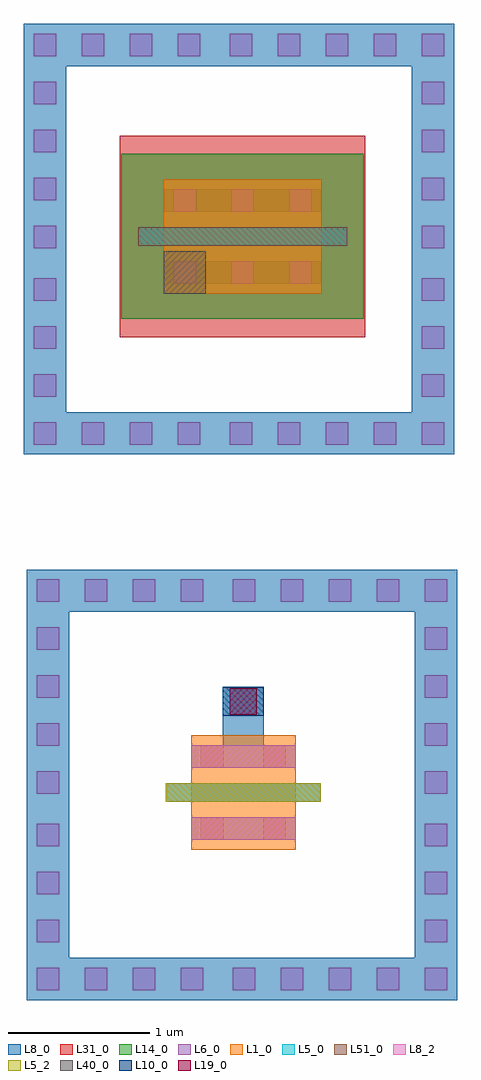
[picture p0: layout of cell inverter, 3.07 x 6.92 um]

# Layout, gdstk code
from math import pi, radians
import gdstk
lib = gdstk.Library(unit=1e-6, precision=5e-09)
def R(c, l, rs):  # rectangles x0, y0, x1, y1
    for r in rs: c.add(gdstk.rectangle(r[:2], r[2:], *l))
def A(c, l, x, y, w, h, nx, ny, dx, dy):  # array of equal rectangles
    R(c, l, [(x+i*dx, y+j*dy, x+i*dx+w, y+j*dy+h) for i in range(nx) for j in range(ny)])
L1_0 = (1, 0)
L5_0 = (5, 0)
L5_2 = (5, 2)
L6_0 = (6, 0)
L8_0 = (8, 0)
L8_2 = (8, 2)
L10_0 = (10, 0)
L14_0 = (14, 0)
L19_0 = (19, 0)
L31_0 = (31, 0)
L40_0 = (40, 0)
L51_0 = (51, 0)

nmos_1 = lib.new_cell('nmos$1')
R(nmos_1, L1_0, [(0,0,0.3,0.3), (0,0,0.81,0.74), (0.51,0,0.81,0.3)])
R(nmos_1, L5_0, [(0.34,-0.18,0.47,0.92)])
R(nmos_1, L5_2, [(0.34,-0.18,0.47,0.92)])
R(nmos_1, L6_0, [(0.07,0.07,0.23,0.23), (0.58,0.07,0.74,0.23), (0.07,0.51,0.23,0.67), (0.58,0.51,0.74,0.67)])
R(nmos_1, L8_0, [(0.07,0,0.23,0.74), (0.58,0,0.74,0.74)])
R(nmos_1, L8_2, [(0.07,0,0.23,0.74), (0.58,0,0.74,0.74)])
R(nmos_1, L51_0, [(0.34,-0.18,0.47,0.92)])
nmos_1.add(gdstk.Label('nmos', (0.405,0.37), layer=63, texttype=0))
nmos_1.add(gdstk.Label('nmos', (0.405,0.37), layer=51, texttype=0))

pmos_1 = lib.new_cell('pmos$1')
R(pmos_1, L1_0, [(0,0,0.3,0.3), (0,0,0.81,1.12), (0.51,0,0.81,0.3)])
R(pmos_1, L5_0, [(0.34,-0.18,0.47,1.3), (0.34,-0.18,0.47,1.3)])
A(pmos_1, L6_0, 0.07, 0.07, 0.16, 0.16, 1, 3, 0, 0.41)
A(pmos_1, L6_0, 0.58, 0.07, 0.16, 0.16, 1, 3, 0, 0.41)
R(pmos_1, L8_0, [(0.07,0,0.23,1.12), (0.07,0,0.23,1.12), (0.58,0,0.74,1.12), (0.58,0,0.74,1.12)])
R(pmos_1, L14_0, [(-0.18,-0.3,0.99,1.42)])
R(pmos_1, L31_0, [(-0.31,-0.31,1.12,1.43)])
R(pmos_1, L40_0, [(0.51,0,0.81,0.3)])
R(pmos_1, L51_0, [(0.34,-0.18,0.47,1.3)])
pmos_1.add(gdstk.Label('pmos', (0.405,0.56), layer=63, texttype=0))
pmos_1.add(gdstk.Label('pmos', (0.405,0.56), layer=51, texttype=0))

via_stack_1 = lib.new_cell('via_stack$1')
R(via_stack_1, L8_0, [(-0.145,-0.105,0.145,0.105)])
R(via_stack_1, L10_0, [(-0.145,-0.1,0.145,0.1)])
R(via_stack_1, L19_0, [(-0.095,-0.095,0.095,0.095)])

guard_ring = lib.new_cell('guard_ring')
A(guard_ring, L6_0, -1.455, -1.455, 0.16, 0.16, 4, 2, 0.34, 2.75)
A(guard_ring, L6_0, -0.065, -1.455, 0.16, 0.16, 5, 2, 0.34, 2.75)
A(guard_ring, L6_0, -1.455, -1.115, 0.16, 0.16, 1, 3, 0, 0.34)
A(guard_ring, L6_0, 1.295, -1.115, 0.16, 0.16, 1, 3, 0, 0.34)
A(guard_ring, L6_0, -1.455, -0.065, 0.16, 0.16, 1, 4, 0, 0.34)
A(guard_ring, L6_0, 1.295, -0.065, 0.16, 0.16, 1, 4, 0, 0.34)
R(guard_ring, L8_0, [(-1.525,-1.525,1.525,-1.225), (-1.525,-1.225,-1.225,1.225), (1.225,-1.225,1.525,1.225), (-1.525,1.225,1.525,1.525)])

inverter = lib.new_cell('inverter')
R(inverter, L8_0, [(0.84,0.045,1.13,0.62)])
inverter.add(gdstk.Reference(nmos_1, (0.615,0.275), rotation=3*pi/2))
inverter.add(gdstk.Reference(pmos_1, (0.42,4.215), rotation=3*pi/2))
inverter.add(gdstk.Reference(via_stack_1, (0.985,0.515)))
inverter.add(gdstk.Reference(guard_ring, (0.955,3.79)))
inverter.add(gdstk.Reference(guard_ring, (0.975,-0.075)))

lib.write_gds('inverter.gds')
